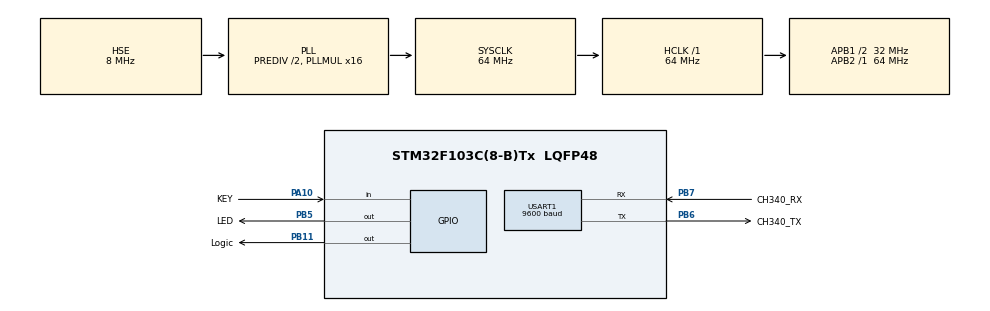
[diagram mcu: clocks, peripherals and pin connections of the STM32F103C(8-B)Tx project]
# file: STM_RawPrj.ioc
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Dma.Request0=USART1_TX
Dma.Request1=USART1_RX
Dma.USART1_RX.1.Direction=DMA_PERIPH_TO_MEMORY
Dma.USART1_RX.1.Instance=DMA1_Channel5
Dma.USART1_RX.1.MemDataAlignment=DMA_MDATAALIGN_BYTE
Dma.USART1_RX.1.MemInc=DMA_MINC_ENABLE
Dma.USART1_RX.1.Mode=DMA_NORMAL
Dma.USART1_RX.1.PeriphDataAlignment=DMA_PDATAALIGN_BYTE
Dma.USART1_RX.1.PeriphInc=DMA_PINC_DISABLE
Dma.USART1_RX.1.Priority=DMA_PRIORITY_LOW
Dma.USART1_TX.0.Direction=DMA_MEMORY_TO_PERIPH
Dma.USART1_TX.0.Instance=DMA1_Channel4
Dma.USART1_TX.0.MemDataAlignment=DMA_MDATAALIGN_BYTE
Dma.USART1_TX.0.MemInc=DMA_MINC_ENABLE
Dma.USART1_TX.0.Mode=DMA_NORMAL
Dma.USART1_TX.0.PeriphDataAlignment=DMA_PDATAALIGN_BYTE
Dma.USART1_TX.0.PeriphInc=DMA_PINC_DISABLE
Dma.USART1_TX.0.Priority=DMA_PRIORITY_LOW
Mcu.Family=STM32F1
Mcu.Name=STM32F103C(8-B)Tx
Mcu.Package=LQFP48
NVIC.DMA1_Channel4_IRQn=true\:1\:0\:true\:false\:true\:false\:true\:true
NVIC.DMA1_Channel5_IRQn=true\:1\:0\:true\:false\:true\:false\:true\:true
NVIC.PriorityGroup=NVIC_PRIORITYGROUP_4
NVIC.USART1_IRQn=true\:1\:0\:true\:false\:true\:true\:true\:true
PA10.GPIO_Label=KEY
PA10.Signal=GPIO_Input
PA13.GPIO_Label=SYS_SWDIO
PA13.Mode=Trace_Asynchronous_SW
PA13.Signal=SYS_JTMS-SWDIO
PA14.GPIO_Label=SYS_SWCLK
PA14.Mode=Trace_Asynchronous_SW
PA14.Signal=SYS_JTCK-SWCLK
PB11.GPIO_Label=Logic
PB11.Signal=GPIO_Output
PB3.GPIO_Label=SYS_SWO
PB3.Mode=Trace_Asynchronous_SW
PB3.Signal=SYS_JTDO-TRACESWO
PB5.GPIO_Label=LED
PB5.Signal=GPIO_Output
PB6.GPIO_Label=CH340_TX
PB6.Mode=Asynchronous
PB6.Signal=USART1_TX
PB7.GPIO_Label=CH340_RX
PB7.Mode=Asynchronous
PB7.Signal=USART1_RX
PC14-OSC32_IN.Mode=LSE-External-Oscillator
PC14-OSC32_IN.Signal=RCC_OSC32_IN
PC15-OSC32_OUT.Mode=LSE-External-Oscillator
PC15-OSC32_OUT.Signal=RCC_OSC32_OUT
PD0-OSC_IN.Mode=HSE-External-Oscillator
PD0-OSC_IN.Signal=RCC_OSC_IN
PD1-OSC_OUT.Mode=HSE-External-Oscillator
PD1-OSC_OUT.Signal=RCC_OSC_OUT
ProjectManager.HeapSize=0x200
ProjectManager.StackSize=0x400
ProjectManager.TargetToolchain=MDK-ARM V5.32
RCC.AHBFreq_Value=64000000
RCC.APB1CLKDivider=RCC_HCLK_DIV2
RCC.APB1Freq_Value=32000000
RCC.APB1TimFreq_Value=64000000
RCC.APB2Freq_Value=64000000
RCC.APB2TimFreq_Value=64000000
RCC.EnbaleCSS=true
RCC.HCLKFreq_Value=64000000
RCC.HSEDivPLL=RCC_HSE_PREDIV_DIV2
RCC.HSICalibrationValue=16
RCC.PLLMUL=RCC_PLL_MUL16
RCC.PLLSourceVirtual=RCC_PLLSOURCE_HSE
RCC.RCC_MCOSource=RCC_MCO1SOURCE_HSE
RCC.SYSCLKFreq_VALUE=64000000
RCC.SYSCLKSource=RCC_SYSCLKSOURCE_PLLCLK
RCC.USBFreq_Value=64000000
USART1.BaudRate=9600
USART1.VirtualMode=VM_ASYNC
board=custom

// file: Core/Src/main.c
/* USER CODE BEGIN Header */
/**
  ******************************************************************************
  * @file           : main.c
  * @brief          : Main program body
  ******************************************************************************
  * @attention
  *
  * Copyright (c) 2025 STMicroelectronics.
  * All rights reserved.
  *
  * This software is licensed under terms that can be found in the LICENSE file
  * in the root directory of this software component.
  * If no LICENSE file comes with this software, it is provided AS-IS.
  *
  ******************************************************************************
  */
/* USER CODE END Header */
#include "main.h"
#include "dma.h"
#include "usart.h"
#include "gpio.h"

/* USER CODE BEGIN Includes */
#include "akareza.h"
/* USER CODE END Includes */

/* USER CODE BEGIN PV */
uint8_t uart1_txData[100]  = "https://www.youtube.com/@aKaReZa75\r\n";
bool    uart1_txReady_flag = true;
uint8_t uart1_rxTemp       = 0x00;
uint8_t uart1_rxBuffer[100]= {0x0};
uint16_t rxBufferIndex = 0;
bool    uart1_rxData_Flag = false;
/* USER CODE END PV */

void SystemClock_Config(void);

int main(void)
{

  /* MCU Configuration--------------------------------------------------------*/

  /* Reset of all peripherals, Initializes the Flash interface and the Systick. */
  HAL_Init();

  /* Configure the system clock */
  SystemClock_Config();

  /* Initialize all configured peripherals */
  MX_GPIO_Init();
  MX_DMA_Init();
  MX_USART1_UART_Init();
  /* USER CODE BEGIN 2 */
	//HAL_UART_Receive_IT(&huart1, &uart1_rxTemp, 1);
	//HAL_UARTEx_ReceiveToIdle_IT(&huart1, uart1_rxBuffer, sizeof(uart1_rxBuffer));
		HAL_UARTEx_ReceiveToIdle_DMA(&huart1, uart1_rxBuffer, sizeof(uart1_rxBuffer));

  /* USER CODE END 2 */

  /* Infinite loop */
  while (1)
  {

    /* USER CODE BEGIN 3 */
		//HAL_GPIO_WritePin(Logic_GPIO_Port, Logic_Pin, GPIO_PIN_SET);
		//HAL_UART_Transmit(&huart1, uart1_txData, strlen((char*)uart1_txData), 100);
		//HAL_UART_Transmit_DMA(&huart1, uart1_txData, strlen((char*)uart1_txData));
		//HAL_GPIO_WritePin(Logic_GPIO_Port, Logic_Pin, GPIO_PIN_RESET);
		//HAL_Delay(500);

//		if(uart1_txReady_flag == true)
//		{
//			uart1_txReady_flag = false;
//			HAL_UART_Transmit_DMA(&huart1, uart1_txData, strlen((char*)uart1_txData));
//		};

//		if(uart1_rxData_Flag == true)
//		{
//			uart1_rxData_Flag = false;
//			printf("rxBuffer: %s\r\n", uart1_rxBuffer);
//			memset(uart1_rxBuffer, 0x00, sizeof(uart1_rxBuffer));
//			rxBufferIndex = 0;
//			HAL_UART_Receive_IT(&huart1, &uart1_rxTemp, 1);
//		};

			if(uart1_rxData_Flag == true)
			{
				uart1_rxData_Flag = false;
				printf("HAL_UARTEx_RxEventCallback: %s\r\n", uart1_rxBuffer);
				memset(uart1_rxBuffer, 0x00, sizeof(uart1_rxBuffer));
				HAL_UARTEx_ReceiveToIdle_DMA(&huart1, uart1_rxBuffer, sizeof(uart1_rxBuffer));
			};
  }
  /* USER CODE END 3 */
}

void SystemClock_Config(void)
{
  RCC_OscInitTypeDef RCC_OscInitStruct = {0};
  RCC_ClkInitTypeDef RCC_ClkInitStruct = {0};

  /** Initializes the RCC Oscillators according to the specified parameters
  * in the RCC_OscInitTypeDef structure.
  */
  RCC_OscInitStruct.OscillatorType = RCC_OSCILLATORTYPE_HSE;
  RCC_OscInitStruct.HSEState = RCC_HSE_ON;
  RCC_OscInitStruct.HSEPredivValue = RCC_HSE_PREDIV_DIV2;
  RCC_OscInitStruct.HSIState = RCC_HSI_ON;
  RCC_OscInitStruct.PLL.PLLState = RCC_PLL_ON;
  RCC_OscInitStruct.PLL.PLLSource = RCC_PLLSOURCE_HSE;
  RCC_OscInitStruct.PLL.PLLMUL = RCC_PLL_MUL16;
  if (HAL_RCC_OscConfig(&RCC_OscInitStruct) != HAL_OK)
  {
    Error_Handler();
  }

  /** Initializes the CPU, AHB and APB buses clocks
  */
  RCC_ClkInitStruct.ClockType = RCC_CLOCKTYPE_HCLK|RCC_CLOCKTYPE_SYSCLK
                              |RCC_CLOCKTYPE_PCLK1|RCC_CLOCKTYPE_PCLK2;
  RCC_ClkInitStruct.SYSCLKSource = RCC_SYSCLKSOURCE_PLLCLK;
  RCC_ClkInitStruct.AHBCLKDivider = RCC_SYSCLK_DIV1;
  RCC_ClkInitStruct.APB1CLKDivider = RCC_HCLK_DIV2;
  RCC_ClkInitStruct.APB2CLKDivider = RCC_HCLK_DIV1;

  if (HAL_RCC_ClockConfig(&RCC_ClkInitStruct, FLASH_LATENCY_2) != HAL_OK)
  {
    Error_Handler();
  }

  /** Enables the Clock Security System
  */
  HAL_RCC_EnableCSS();
}

/* USER CODE BEGIN 4 */
/**
  * @brief  Tx Transfer completed callbacks.
  * @param  huart  Pointer to a UART_HandleTypeDef structure that contains
  *                the configuration information for the specified UART module.
  * @retval None
  */
void HAL_UART_TxCpltCallback(UART_HandleTypeDef *huart)
{
	if(huart->Instance == USART1)
	{
		uart1_txReady_flag = true;
	};
}

/**
  * @brief  Rx Transfer completed callbacks.
  * @param  huart  Pointer to a UART_HandleTypeDef structure that contains
  *                the configuration information for the specified UART module.
  * @retval None
  */
void HAL_UART_RxCpltCallback(UART_HandleTypeDef *huart)
{
	if(huart->Instance == USART1)
	{
		printf("HAL_UART_RxCpltCallback: %c\r\n", uart1_rxTemp);
		if(uart1_rxTemp == '\n' || uart1_rxTemp == '\r')
		{
			uart1_rxData_Flag = true;
		}
		else
		{
			uart1_rxBuffer[rxBufferIndex++] = uart1_rxTemp;
			HAL_UART_Receive_IT(&huart1, &uart1_rxTemp, 1);
		};
	};
}

/**
  * @brief  Reception Event Callback (Rx event notification called after use of advanced reception service).
  * @param  huart UART handle
  * @param  Size  Number of data available in application reception buffer (indicates a position in
  *               reception buffer until which, data are available)
  * @retval None
  */
void HAL_UARTEx_RxEventCallback(UART_HandleTypeDef *huart, uint16_t Size)
{
	if(huart->Instance == USART1)
	{
		uart1_rxData_Flag = true;
	};
}
/* USER CODE END 4 */

void Error_Handler(void)
{
  __disable_irq();
  while (1)
  {
  }
}
